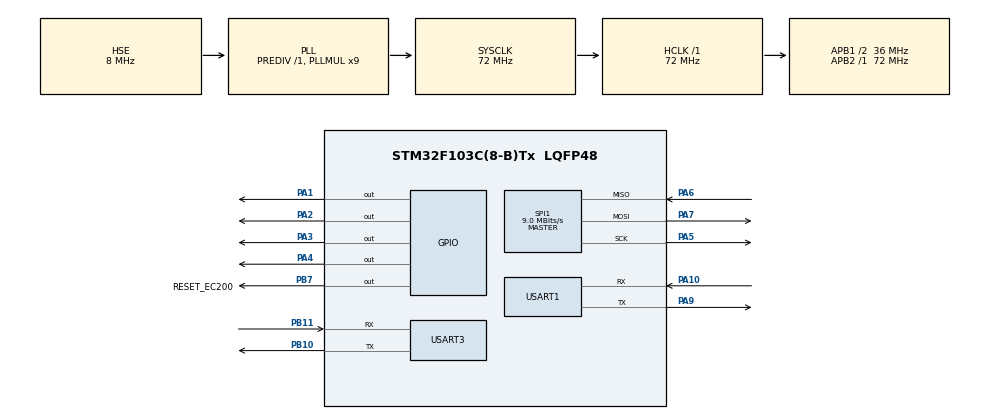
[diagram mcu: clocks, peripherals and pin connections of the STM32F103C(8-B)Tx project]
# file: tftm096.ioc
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Dma.Request0=USART3_RX
Dma.Request1=USART3_TX
Dma.Request2=USART1_RX
Dma.Request3=USART1_TX
Dma.USART1_RX.2.Direction=DMA_PERIPH_TO_MEMORY
Dma.USART1_RX.2.Instance=DMA1_Channel5
Dma.USART1_RX.2.MemDataAlignment=DMA_MDATAALIGN_BYTE
Dma.USART1_RX.2.MemInc=DMA_MINC_ENABLE
Dma.USART1_RX.2.Mode=DMA_CIRCULAR
Dma.USART1_RX.2.PeriphDataAlignment=DMA_PDATAALIGN_BYTE
Dma.USART1_RX.2.PeriphInc=DMA_PINC_DISABLE
Dma.USART1_RX.2.Priority=DMA_PRIORITY_LOW
Dma.USART1_TX.3.Direction=DMA_MEMORY_TO_PERIPH
Dma.USART1_TX.3.Instance=DMA1_Channel4
Dma.USART1_TX.3.MemDataAlignment=DMA_MDATAALIGN_BYTE
Dma.USART1_TX.3.MemInc=DMA_MINC_ENABLE
Dma.USART1_TX.3.Mode=DMA_NORMAL
Dma.USART1_TX.3.PeriphDataAlignment=DMA_PDATAALIGN_BYTE
Dma.USART1_TX.3.PeriphInc=DMA_PINC_DISABLE
Dma.USART1_TX.3.Priority=DMA_PRIORITY_LOW
Dma.USART3_RX.0.Direction=DMA_PERIPH_TO_MEMORY
Dma.USART3_RX.0.Instance=DMA1_Channel3
Dma.USART3_RX.0.MemDataAlignment=DMA_MDATAALIGN_BYTE
Dma.USART3_RX.0.MemInc=DMA_MINC_ENABLE
Dma.USART3_RX.0.Mode=DMA_CIRCULAR
Dma.USART3_RX.0.PeriphDataAlignment=DMA_PDATAALIGN_BYTE
Dma.USART3_RX.0.PeriphInc=DMA_PINC_DISABLE
Dma.USART3_RX.0.Priority=DMA_PRIORITY_LOW
Dma.USART3_TX.1.Direction=DMA_MEMORY_TO_PERIPH
Dma.USART3_TX.1.Instance=DMA1_Channel2
Dma.USART3_TX.1.MemDataAlignment=DMA_MDATAALIGN_BYTE
Dma.USART3_TX.1.MemInc=DMA_MINC_ENABLE
Dma.USART3_TX.1.Mode=DMA_NORMAL
Dma.USART3_TX.1.PeriphDataAlignment=DMA_PDATAALIGN_BYTE
Dma.USART3_TX.1.PeriphInc=DMA_PINC_DISABLE
Dma.USART3_TX.1.Priority=DMA_PRIORITY_LOW
FREERTOS.Tasks01=defaultTask,24,128,StartDefaultTask,Default,NULL,Dynamic,NULL,NULL
Mcu.Family=STM32F1
Mcu.Name=STM32F103C(8-B)Tx
Mcu.Package=LQFP48
NVIC.DMA1_Channel2_IRQn=true\:5\:0\:false\:false\:true\:true\:false\:true\:true
NVIC.DMA1_Channel3_IRQn=true\:5\:0\:false\:false\:true\:true\:false\:true\:true
NVIC.DMA1_Channel4_IRQn=true\:5\:0\:false\:false\:true\:true\:false\:true\:true
NVIC.DMA1_Channel5_IRQn=true\:5\:0\:false\:false\:true\:true\:false\:true\:true
NVIC.PriorityGroup=NVIC_PRIORITYGROUP_4
NVIC.RCC_IRQn=true\:5\:0\:false\:false\:true\:true\:true\:false\:true
NVIC.SPI1_IRQn=true\:5\:0\:false\:false\:true\:true\:true\:true\:true
NVIC.TIM4_IRQn=true\:15\:0\:false\:false\:true\:false\:false\:true\:true
NVIC.TimeBase=TIM4_IRQn
NVIC.TimeBaseIP=TIM4
NVIC.USART1_IRQn=true\:5\:0\:false\:false\:true\:true\:true\:true\:true
NVIC.USART3_IRQn=true\:5\:0\:false\:false\:true\:true\:true\:true\:true
PA1.Signal=GPIO_Output
PA10.Mode=Asynchronous
PA10.Signal=USART1_RX
PA2.Signal=GPIO_Output
PA3.Signal=GPIO_Output
PA4.Signal=GPIO_Output
PA5.Mode=Full_Duplex_Master
PA5.Signal=SPI1_SCK
PA6.Mode=Full_Duplex_Master
PA6.Signal=SPI1_MISO
PA7.Mode=Full_Duplex_Master
PA7.Signal=SPI1_MOSI
PA9.Mode=Asynchronous
PA9.Signal=USART1_TX
PB10.Mode=Asynchronous
PB10.Signal=USART3_TX
PB11.Mode=Asynchronous
PB11.Signal=USART3_RX
PB7.GPIO_Label=RESET_EC200
PB7.GPIO_ModeDefaultOutputPP=GPIO_MODE_OUTPUT_PP
PB7.GPIO_PuPd=GPIO_PULLUP
PB7.Signal=GPIO_Output
PD0-OSC_IN.Mode=HSE-External-Oscillator
PD0-OSC_IN.Signal=RCC_OSC_IN
PD1-OSC_OUT.Mode=HSE-External-Oscillator
PD1-OSC_OUT.Signal=RCC_OSC_OUT
ProjectManager.HeapSize=0x200
ProjectManager.StackSize=0x400
ProjectManager.TargetToolchain=Makefile
RCC.AHBFreq_Value=72000000
RCC.APB1CLKDivider=RCC_HCLK_DIV2
RCC.APB1Freq_Value=36000000
RCC.APB1TimFreq_Value=72000000
RCC.APB2Freq_Value=72000000
RCC.APB2TimFreq_Value=72000000
RCC.HCLKFreq_Value=72000000
RCC.PLLMUL=RCC_PLL_MUL9
RCC.PLLSourceVirtual=RCC_PLLSOURCE_HSE
RCC.SYSCLKFreq_VALUE=72000000
RCC.SYSCLKSource=RCC_SYSCLKSOURCE_PLLCLK
RCC.USBFreq_Value=72000000
SPI1.BaudRatePrescaler=SPI_BAUDRATEPRESCALER_8
SPI1.CRCCalculation=SPI_CRCCALCULATION_DISABLE
SPI1.CalculateBaudRate=9.0 MBits/s
SPI1.Direction=SPI_DIRECTION_2LINES
SPI1.FirstBit=SPI_FIRSTBIT_MSB
SPI1.Mode=SPI_MODE_MASTER
SPI1.VirtualType=VM_MASTER
USART1.VirtualMode=VM_ASYNC
USART3.VirtualMode=VM_ASYNC
VP_FREERTOS_VS_CMSIS_V2.Mode=CMSIS_V2
VP_SYS_VS_ND.Mode=No_Debug
VP_SYS_VS_tim4.Mode=TIM4
board=custom

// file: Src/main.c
/* USER CODE BEGIN Header */
/**
 ******************************************************************************
 * @file           : main.c
 * @brief          : Main program body
 ******************************************************************************
 * @attention
 *
 * <h2><center>&copy; Copyright (c) 2020 STMicroelectronics.
 * All rights reserved.</center></h2>
 *
 * This software component is licensed by ST under Ultimate Liberty license
 * SLA0044, the "License"; You may not use this file except in compliance with
 * the License. You may obtain a copy of the License at:
 *                             www.st.com/SLA0044
 *
 ******************************************************************************
 */
/* USER CODE END Header */
#include "main.h"
#include "cmsis_os.h"

/* USER CODE BEGIN Includes */
// #define ST7735_IS_80X160
#include "st7735/fonts.h"
#include "st7735/st7735.h"
#include "st7735/testimg.h"
#include "utils/ringbuf_adaptor.h"
#include <FreeRTOS.h>
#include <FreeRTOSConfig.h>
#include <event_groups.h>
#include <projdefs.h>
#include <stdlib.h>
#include <string.h>
#include <task.h>
#include <string.h>
#include <queue.h>

/* USER CODE END Includes */

/* USER CODE BEGIN PD */
RingBuf uart1_buff;
/* USER CODE END PD */

SPI_HandleTypeDef hspi1;

UART_HandleTypeDef huart1;
UART_HandleTypeDef huart3;
DMA_HandleTypeDef hdma_usart1_rx;
DMA_HandleTypeDef hdma_usart1_tx;
DMA_HandleTypeDef hdma_usart3_rx;
DMA_HandleTypeDef hdma_usart3_tx;

/* Definitions for defaultTask */
osThreadId_t defaultTaskHandle;
const osThreadAttr_t defaultTask_attributes = {
    .name = "defaultTask",
    .stack_size = 128 * 4,
    .priority = (osPriority_t)osPriorityNormal,
};
/* USER CODE BEGIN PV */
static EventGroupHandle_t xEvtGrpUART1;
#define EVENT_BIT_UART1_TXCMPLT 0x01
#define EVENT_BIT_UART1_RXCMPLT 0x02
/* USER CODE END PV */

void SystemClock_Config(void);
static void MX_GPIO_Init(void);
static void MX_DMA_Init(void);
static void MX_SPI1_Init(void);
static void MX_USART1_UART_Init(void);
static void MX_USART3_UART_Init(void);
void StartDefaultTask(void *argument);

/* USER CODE BEGIN 0 */
QueueHandle_t xUart1RxQueue = NULL;
QueueHandle_t xUart3RxQueue = NULL;
osThreadId_t xTrheadUart1Rx;

static int uart3_result = 0;
static int uart1_result = 0;
static int uart1_state_last = 0;
static int uart1_state_next = 0;

#define UART1_RX_BUFF_SIZE 400
#define UART1_MAIN_BUFF_SIZE 400
#define UART1_TX_BUFF_SIZE 400
#define UART3_RX_BUFF_SIZE 1024
#define UART3_MAIN_BUFF_SIZE 1024
#define UART3_TX_BUFF_SIZE 400

uint8_t uart1_tx_buff[UART1_TX_BUFF_SIZE] = {0};
uint8_t uart1_rx_buff[UART1_RX_BUFF_SIZE] = {0};
uint8_t uart1_main_buff[UART1_MAIN_BUFF_SIZE] = {0};
int16_t uart1_rx_pos_old = 0, uart1_rx_pos;

uint8_t uart3_tx_buff[UART3_TX_BUFF_SIZE] = {0};
uint8_t uart3_rx_buff[UART3_RX_BUFF_SIZE] = {0};
uint8_t uart3_main_buff[UART3_MAIN_BUFF_SIZE] = {0};

/* Bruce:
state machine
0: initial
0 - > 1(CGATT)
1 --y--> 2: QIOPEN
1 --n--> 0
2 --y--> 3: CONNECTED(QIRD/QISEND)
2 --n--> 4: QICLOSE
3 --y--> 3
3 --n--> 4
4 -> 0
*/

static char *
make_tx_buffer(int state)
{
  if (state == 0)
  {
    strcpy(uart1_tx_buff, "AT+CGATT?\r\n");
  }
  else if (state == 1)
  {
    strcpy(uart1_tx_buff, "ATEO\r\n");
  }
  // tcp connect
  else if (state == 2)
  {
    strcpy(uart1_tx_buff, "AT+QIOPEN=1,0,\"TCP\",47.100.172.167,30000,0,2\r\n");
  }
  // tcp connected
  else if (state == 3)
  {
    // user fill uart1_tx_buff
  }
  else if (state == 4)
  {
    strcpy(uart1_tx_buff, "AT+QISWTMD\r\n");
  }
  // tcp close
  else if (state == 5)
  {
    strcpy(uart1_tx_buff, "AT+QICLOSE=0\r\n");
  }

  return uart1_tx_buff;
}

void uart1_handle_rx(char *buff)
{
  if (uart1_state_last == 0)
  {
    // not ok
    if (!strstr(buff, "OK") || !strstr(buff, "+CGATT: 1"))
    {
      // NOT OK
      uart1_state_next = 0;
    }
    else
    {
      uart1_state_next++;
    }
    return;
  }

  // last ATEO
  if (uart1_state_last == 1)
  {
    // not ok
    if (!strstr(buff, "NO CARRIER"))
    {
      uart1_state_next = 1;
    }
    else
    {
      uart1_state_next++;
    }
    return;
  }

  //
  if (uart1_state_last == 2)
  {
    // no error
    if (strstr(buff, "CONNECT"))
    {
      // TCP connected state
      uart1_state_next = 3;
    }
    else
    {
      uart1_state_next = 0;
    }
    return;
  }

  if (uart1_state_last == 4)
  {
    uart1_state_next++;
    return;
  }
  if (uart1_state_last == 5)
  {
    uart1_state_last = 0;
    uart1_state_next = 0;
    return;
  }
}

int tcp_connect(state)
{
  char *cmd = NULL;
  cmd = make_tx_buffer(state);
  // uart1_tx_buff has content to send
  if (cmd[0] != 0)
  {
    uart1_result = HAL_UART_Transmit_DMA(&huart1, (uint8_t *)cmd, strlen(cmd));
    uart1_state_last = state;
    cmd[0] = 0;
  }

  return 0;
}

void HAL_UARTEx_RxEventCallback(UART_HandleTypeDef *huart, uint16_t Size)
{
  BaseType_t xHigherPriorityTaskWoken = pdFALSE;
  // 4G modem
  if (huart == &huart1)
  {

    BaseType_t r = xQueueSendFromISR(xUart1RxQueue, &Size, &xHigherPriorityTaskWoken);
    HAL_UART_DMAStop(&huart1);
    HAL_UARTEx_ReceiveToIdle_DMA(&huart1, uart1_rx_buff, UART1_RX_BUFF_SIZE);
    __HAL_DMA_DISABLE_IT(&hdma_usart1_rx, DMA_IT_HT);
  }
  // TI NIRSCANNANO
  else if (huart == &huart3)
  {
    BaseType_t r = xQueueSendFromISR(xUart3RxQueue, &Size, &xHigherPriorityTaskWoken);
    HAL_UART_DMAStop(&huart3);
    HAL_UARTEx_ReceiveToIdle_DMA(&huart3, uart3_rx_buff, UART3_RX_BUFF_SIZE);
    __HAL_DMA_DISABLE_IT(&hdma_usart3_rx, DMA_IT_HT);
  }
  portYIELD_FROM_ISR(xHigherPriorityTaskWoken);
}

// receive data from cloud server
void TaskUart1Rx(void *pvParameters)
{
  int16_t size;
  int16_t sz;
  for (int j = 0;; j++)
  {
    xQueueReceive(xUart1RxQueue, &size, portMAX_DELAY);
    sz = size;

    // sz = uart1_buff.read(&uart1_buff, uart1_main_buff, sz);
    memcpy(uart1_main_buff, uart1_rx_buff, size);
    uart1_main_buff[size] = 0;
    char uart_sz_info[] = "u1rx sz:     ";
    itoa(size, uart_sz_info + 8, 10);

    ST7735_WriteString(0, 10 * 2, uart_sz_info, Font_7x10, ST7735_YELLOW,
                       ST7735_BLACK);

    ST7735_FillRectangle(0, 10 * 4, ST7735_WIDTH, ST7735_HEIGHT * 3, ST7735_BLACK);

    ST7735_WriteString(0, 10 * 4, uart1_main_buff, Font_7x10, ST7735_YELLOW,
                       ST7735_BLACK);
    xEventGroupSetBits(xEvtGrpUART1, EVENT_BIT_UART1_RXCMPLT);
  }
}

/* USER CODE END 0 */

int main(void)
{
  /* USER CODE BEGIN 1 */
  uart1_buff = ringbuf_new(uart1_rx_buff, UART1_RX_BUFF_SIZE);

  /* USER CODE END 1 */

  /* MCU Configuration--------------------------------------------------------*/

  /* Reset of all peripherals, Initializes the Flash interface and the Systick. */
  HAL_Init();

  /* Configure the system clock */
  SystemClock_Config();

  /* Initialize all configured peripherals */
  MX_GPIO_Init();
  MX_DMA_Init();
  MX_SPI1_Init();
  MX_USART1_UART_Init();
  MX_USART3_UART_Init();
  /* USER CODE BEGIN 2 */
  ST7735_Init();
  HAL_UARTEx_ReceiveToIdle_DMA(&huart1, uart1_rx_buff, UART1_RX_BUFF_SIZE);
  HAL_UARTEx_ReceiveToIdle_DMA(&huart3, uart3_rx_buff, UART3_RX_BUFF_SIZE);
  __HAL_DMA_DISABLE_IT(&hdma_usart1_rx, DMA_IT_HT);
  __HAL_DMA_DISABLE_IT(&hdma_usart3_rx, DMA_IT_HT);
  /* USER CODE END 2 */

  /* Init scheduler */
  osKernelInitialize();

  /* USER CODE BEGIN RTOS_QUEUES */
  /* add queues, ... */
  xEvtGrpUART1 = xEventGroupCreate();
  xUart1RxQueue = xQueueCreate(2, sizeof(uint16_t));
  xUart3RxQueue = xQueueCreate(2, sizeof(uint16_t));
  /* USER CODE END RTOS_QUEUES */

  /* Create the thread(s) */
  /* creation of defaultTask */
  defaultTaskHandle = osThreadNew(StartDefaultTask, NULL, &defaultTask_attributes);

  /* USER CODE BEGIN RTOS_THREADS */
  /* add threads, ... */
  xTrheadUart1Rx = osThreadNew(TaskUart1Rx, NULL, &defaultTask_attributes);
  /* USER CODE END RTOS_THREADS */

  /* Start scheduler */
  osKernelStart();

  /* We should never get here as control is now taken by the scheduler */
  /* Infinite loop */
  while (1)
  {

  }
}

void SystemClock_Config(void)
{
  RCC_OscInitTypeDef RCC_OscInitStruct = {0};
  RCC_ClkInitTypeDef RCC_ClkInitStruct = {0};

  /** Initializes the RCC Oscillators according to the specified parameters
   * in the RCC_OscInitTypeDef structure.
   */
  RCC_OscInitStruct.OscillatorType = RCC_OSCILLATORTYPE_HSE;
  RCC_OscInitStruct.HSEState = RCC_HSE_ON;
  RCC_OscInitStruct.HSEPredivValue = RCC_HSE_PREDIV_DIV1;
  RCC_OscInitStruct.HSIState = RCC_HSI_ON;
  RCC_OscInitStruct.PLL.PLLState = RCC_PLL_ON;
  RCC_OscInitStruct.PLL.PLLSource = RCC_PLLSOURCE_HSE;
  RCC_OscInitStruct.PLL.PLLMUL = RCC_PLL_MUL9;
  if (HAL_RCC_OscConfig(&RCC_OscInitStruct) != HAL_OK)
  {
    Error_Handler();
  }

  /** Initializes the CPU, AHB and APB buses clocks
   */
  RCC_ClkInitStruct.ClockType = RCC_CLOCKTYPE_HCLK | RCC_CLOCKTYPE_SYSCLK | RCC_CLOCKTYPE_PCLK1 | RCC_CLOCKTYPE_PCLK2;
  RCC_ClkInitStruct.SYSCLKSource = RCC_SYSCLKSOURCE_PLLCLK;
  RCC_ClkInitStruct.AHBCLKDivider = RCC_SYSCLK_DIV1;
  RCC_ClkInitStruct.APB1CLKDivider = RCC_HCLK_DIV2;
  RCC_ClkInitStruct.APB2CLKDivider = RCC_HCLK_DIV1;

  if (HAL_RCC_ClockConfig(&RCC_ClkInitStruct, FLASH_LATENCY_2) != HAL_OK)
  {
    Error_Handler();
  }
}

static void MX_SPI1_Init(void)
{

  /* SPI1 parameter configuration*/
  hspi1.Instance = SPI1;
  hspi1.Init.Mode = SPI_MODE_MASTER;
  hspi1.Init.Direction = SPI_DIRECTION_2LINES;
  hspi1.Init.DataSize = SPI_DATASIZE_8BIT;
  hspi1.Init.CLKPolarity = SPI_POLARITY_LOW;
  hspi1.Init.CLKPhase = SPI_PHASE_1EDGE;
  hspi1.Init.NSS = SPI_NSS_SOFT;
  hspi1.Init.BaudRatePrescaler = SPI_BAUDRATEPRESCALER_8;
  hspi1.Init.FirstBit = SPI_FIRSTBIT_MSB;
  hspi1.Init.TIMode = SPI_TIMODE_DISABLE;
  hspi1.Init.CRCCalculation = SPI_CRCCALCULATION_DISABLE;
  hspi1.Init.CRCPolynomial = 10;
  if (HAL_SPI_Init(&hspi1) != HAL_OK)
  {
    Error_Handler();
  }
}

static void MX_USART1_UART_Init(void)
{

  huart1.Instance = USART1;
  huart1.Init.BaudRate = 115200;
  huart1.Init.WordLength = UART_WORDLENGTH_8B;
  huart1.Init.StopBits = UART_STOPBITS_1;
  huart1.Init.Parity = UART_PARITY_NONE;
  huart1.Init.Mode = UART_MODE_TX_RX;
  huart1.Init.HwFlowCtl = UART_HWCONTROL_NONE;
  huart1.Init.OverSampling = UART_OVERSAMPLING_16;
  if (HAL_UART_Init(&huart1) != HAL_OK)
  {
    Error_Handler();
  }
}

static void MX_USART3_UART_Init(void)
{

  huart3.Instance = USART3;
  huart3.Init.BaudRate = 115200;
  huart3.Init.WordLength = UART_WORDLENGTH_8B;
  huart3.Init.StopBits = UART_STOPBITS_1;
  huart3.Init.Parity = UART_PARITY_NONE;
  huart3.Init.Mode = UART_MODE_TX_RX;
  huart3.Init.HwFlowCtl = UART_HWCONTROL_NONE;
  huart3.Init.OverSampling = UART_OVERSAMPLING_16;
  if (HAL_UART_Init(&huart3) != HAL_OK)
  {
    Error_Handler();
  }
}

static void MX_DMA_Init(void)
{

  /* DMA controller clock enable */
  __HAL_RCC_DMA1_CLK_ENABLE();

  /* DMA interrupt init */
  /* DMA1_Channel2_IRQn interrupt configuration */
  HAL_NVIC_SetPriority(DMA1_Channel2_IRQn, 5, 0);
  HAL_NVIC_EnableIRQ(DMA1_Channel2_IRQn);
  /* DMA1_Channel3_IRQn interrupt configuration */
  HAL_NVIC_SetPriority(DMA1_Channel3_IRQn, 5, 0);
  HAL_NVIC_EnableIRQ(DMA1_Channel3_IRQn);
  /* DMA1_Channel4_IRQn interrupt configuration */
  HAL_NVIC_SetPriority(DMA1_Channel4_IRQn, 5, 0);
  HAL_NVIC_EnableIRQ(DMA1_Channel4_IRQn);
  /* DMA1_Channel5_IRQn interrupt configuration */
  HAL_NVIC_SetPriority(DMA1_Channel5_IRQn, 5, 0);
  HAL_NVIC_EnableIRQ(DMA1_Channel5_IRQn);
}

static void MX_GPIO_Init(void)
{
  GPIO_InitTypeDef GPIO_InitStruct = {0};

  /* GPIO Ports Clock Enable */
  __HAL_RCC_GPIOD_CLK_ENABLE();
  __HAL_RCC_GPIOA_CLK_ENABLE();
  __HAL_RCC_GPIOB_CLK_ENABLE();

  /*Configure GPIO pin Output Level */
  HAL_GPIO_WritePin(GPIOA, GPIO_PIN_1 | GPIO_PIN_2 | GPIO_PIN_3 | GPIO_PIN_4, GPIO_PIN_RESET);

  /*Configure GPIO pin Output Level */
  HAL_GPIO_WritePin(RESET_EC200_GPIO_Port, RESET_EC200_Pin, GPIO_PIN_RESET);

  /*Configure GPIO pins : PA1 PA2 PA3 PA4 */
  GPIO_InitStruct.Pin = GPIO_PIN_1 | GPIO_PIN_2 | GPIO_PIN_3 | GPIO_PIN_4;
  GPIO_InitStruct.Mode = GPIO_MODE_OUTPUT_PP;
  GPIO_InitStruct.Pull = GPIO_NOPULL;
  GPIO_InitStruct.Speed = GPIO_SPEED_FREQ_LOW;
  HAL_GPIO_Init(GPIOA, &GPIO_InitStruct);

  /*Configure GPIO pin : RESET_EC200_Pin */
  GPIO_InitStruct.Pin = RESET_EC200_Pin;
  GPIO_InitStruct.Mode = GPIO_MODE_OUTPUT_PP;
  GPIO_InitStruct.Pull = GPIO_PULLUP;
  GPIO_InitStruct.Speed = GPIO_SPEED_FREQ_LOW;
  HAL_GPIO_Init(RESET_EC200_GPIO_Port, &GPIO_InitStruct);
}

/* USER CODE BEGIN 4 */

void HAL_UART_TxCpltCallback(UART_HandleTypeDef *h)
{
  if (h == &huart1)
  {
    ST7735_WriteString(0, 10 * 3, "tx cplt", Font_7x10, ST7735_YELLOW,
                       ST7735_BLACK);
    // xEventGroupSetBitsFromISR(xEvtGrpUART1, EVENT_BIT_UART1_TXCMPLT, pdFALSE);
  }
}
/* USER CODE END 4 */

void StartDefaultTask(void *argument)
{
  /* USER CODE BEGIN 5 */
  int at_cmd_result = 0;
  uint16_t colors[] = {ST7735_GREEN, ST7735_RED, ST7735_BLUE, ST7735_MAGENTA,
                       ST7735_YELLOW, ST7735_WHITE, ST7735_CYAN, ST7735_BLACK};
  uint32_t tick, color;
  char number_buff[5] = {0};
  srand(0);
  uint16_t currBgColor = 999999;
  ST7735_FillScreen(ST7735_BLACK);
  // osDelay(5000 / portTICK_PERIOD_MS);
  uart1_state_next = 0;
  uart1_state_last = 0;
  tcp_connect(uart1_state_next);
  int connected = 0;
  EventBits_t bits = 0;
  for (int i = 0;; i++)
  {
    itoa(uart1_result, number_buff, 10);
    ST7735_WriteString(0, 0, number_buff, Font_7x10, ST7735_YELLOW,
                       ST7735_BLACK);

    // connected
    if (uart1_state_next != 3)
    {
      // 1.5ms delay for tx
      // 5 ms for tx and tx
      osDelay(1500);
      bits = xEventGroupWaitBits(xEvtGrpUART1, 0xFFFF, pdTRUE, pdFALSE, 5000 / portTICK_PERIOD_MS);
      if (bits)
      {
        if (bits & EVENT_BIT_UART1_RXCMPLT)
        {
          uart1_handle_rx(uart1_main_buff);
          tcp_connect(uart1_state_next);
        }
        else
        {
          uart1_state_last = 0;
          uart1_state_next = 0;
          tcp_connect(uart1_state_next);
        }
      }
      // timeout waiting command rx
      else
      {
        if (uart1_state_next != 3)
        {
          uart1_state_last = uart1_state_next;
          uart1_state_next = 0;
          tcp_connect(uart1_state_next);
        }
        itoa(i, number_buff, 10);
        ST7735_WriteString(0, 10 * 1, number_buff, Font_7x10, ST7735_YELLOW,
                           ST7735_BLACK);
      }
    }
    else
    {
      for (int j = 0;; j++)
      {
        // 0.01s for rx
        bits = xEventGroupWaitBits(xEvtGrpUART1, 0xFFFF, pdTRUE, pdFALSE, 10 / portTICK_PERIOD_MS);
        if (bits & EVENT_BIT_UART1_RXCMPLT)
        {
          if (strstr(uart1_main_buff, "NO CARR"))
          {
            // close and reconnect
            uart1_state_next = 5;
            tcp_connect(uart1_state_next);
            break;
          }
        }

        // receive msg from uart3
        int size = 0;
        xQueueReceive(xUart3RxQueue, &size, portMAX_DELAY);
        memcpy(uart3_main_buff, uart3_rx_buff, size);
        // send to platform via 4G model
        int sz = 0;
        while (size > UART1_MAIN_BUFF_SIZE)
        {
          memcpy(uart1_tx_buff, uart3_main_buff + sz, UART1_MAIN_BUFF_SIZE);
          uart1_result = HAL_UART_Transmit_DMA(&huart1, (uint8_t *)uart1_tx_buff, UART1_MAIN_BUFF_SIZE);
          size -= UART1_MAIN_BUFF_SIZE;
          sz += UART1_MAIN_BUFF_SIZE;
        }

        if (size > 0)
        {
          memcpy(uart1_tx_buff, uart3_main_buff + sz, size);
          uart1_result = HAL_UART_Transmit_DMA(&huart1, (uint8_t *)uart1_tx_buff, size);
        }
      }
    }
  }
  /* USER CODE END 5 */
}

void HAL_TIM_PeriodElapsedCallback(TIM_HandleTypeDef *htim)
{
  if (htim->Instance == TIM4)
  {
    HAL_IncTick();
  }
}

void Error_Handler(void)
{
}

#ifdef USE_FULL_ASSERT
/**
 * @brief  Reports the name of the source file and the source line number
 *         where the assert_param error has occurred.
 * @param  file: pointer to the source file name
 * @param  line: assert_param error line source number
 * @retval None
 */
void assert_failed(uint8_t *file, uint32_t line)
{
  /* USER CODE BEGIN 6 */
  /* User can add his own implementation to report the file name and line
     number, tex: printf("Wrong parameters value: file %s on line %d\r\n", file,
     line) */
  /* USER CODE END 6 */
}
#endif /* USE_FULL_ASSERT */
